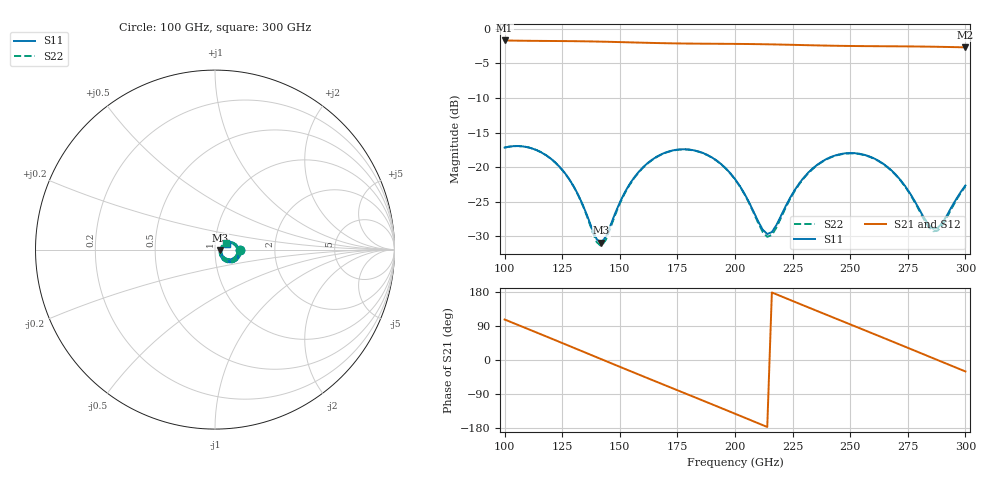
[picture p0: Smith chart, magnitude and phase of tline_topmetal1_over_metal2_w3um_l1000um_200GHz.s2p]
#  GHZ S DB R 50
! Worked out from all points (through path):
!   101 points, 100 GHz to 300 GHz, reference 50 ohm
!   highest |S21| = -1.69 dB at 100 GHz (marker M1); lowest = -2.7 dB at 300 GHz (marker M2)
!   group delay of S21, straight-line fit = 6.9 ps
!   lowest |S11| = -30.9 dB at 142 GHz (marker M3), VSWR 1.06, Z = 52.9 - j0.329 ohm
!   |S11| at or under -10 dB: start of sweep to end of sweep
!   |S22| runs from -31.4 to -16.9 dB; largest |S21 - S12| = 9e-14
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100  -17.17 0.0  -1.69 106.9  -1.69 106.9  -17.16 -0.3
108  -17.00 -15.5  -1.74 87.1  -1.74 87.1  -16.99 -16.0
116  -17.87 -30.7  -1.76 67.3  -1.76 67.3  -17.87 -31.3
126  -20.78 -46.8  -1.79 42.3  -1.79 42.3  -20.79 -47.9
134  -25.49 -50.1  -1.82 22.2  -1.82 22.2  -25.58 -51.9
140  -30.41 -24.9  -1.85 7.1  -1.85 7.1  -30.83 -26.7
142  -30.88 -6.2  -1.87 2.1  -1.87 2.1  -31.40 -6.8
154  -22.58 31.0  -1.97 -27.9  -1.97 -27.9  -22.68 31.9
168  -18.14 10.8  -2.08 -62.6  -2.08 -62.6  -18.18 11.1
176  -17.43 -4.0  -2.13 -82.3  -2.13 -82.3  -17.46 -3.9
184  -17.71 -18.9  -2.16 -102.0  -2.16 -102.0  -17.73 -18.9
200  -21.71 -43.2  -2.19 -141.7  -2.19 -141.7  -21.75 -43.9
214  -29.65 -10.9  -2.25 -176.8  -2.25 -176.8  -30.06 -11.5
224  -24.37 28.6  -2.32 158.3  -2.32 158.3  -24.53 29.8
234  -20.10 21.1  -2.40 133.5  -2.40 133.5  -20.17 22.0
244  -18.25 5.0  -2.46 108.8  -2.46 108.8  -18.30 5.6
252  -17.98 -9.2  -2.50 89.1  -2.50 89.1  -18.02 -8.7
268  -20.49 -34.8  -2.54 49.6  -2.54 49.6  -20.54 -34.8
278  -24.89 -39.0  -2.56 24.7  -2.56 24.7  -25.02 -39.5
286  -28.88 -10.6  -2.60 4.7  -2.60 4.7  -29.26 -10.5
290  -28.04 12.1  -2.62 -5.3  -2.62 -5.3  -28.37 13.6
300  -22.63 26.7  -2.69 -30.2  -2.69 -30.2  -22.75 28.4
